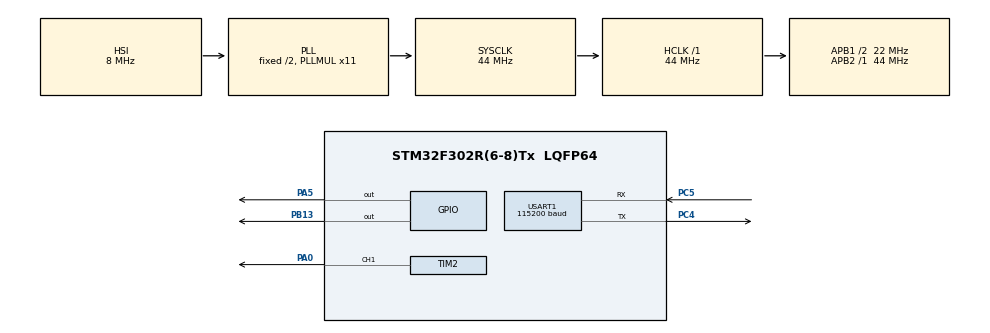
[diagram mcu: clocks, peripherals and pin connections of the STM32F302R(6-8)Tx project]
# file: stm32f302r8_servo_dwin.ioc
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Mcu.Family=STM32F3
Mcu.Name=STM32F302R(6-8)Tx
Mcu.Package=LQFP64
NVIC.PriorityGroup=NVIC_PRIORITYGROUP_0
NVIC.TIM2_IRQn=true\:0\:0\:false\:false\:true\:true\:true\:true
NVIC.USART1_IRQn=true\:0\:0\:false\:false\:true\:true\:true\:true
PA0.Signal=S_TIM2_CH1_ETR
PA13.Mode=Serial_Wire
PA13.Signal=SYS_JTMS-SWDIO
PA14.Mode=Serial_Wire
PA14.Signal=SYS_JTCK-SWCLK
PA5.Signal=GPIO_Output
PB13.Signal=GPIO_Output
PC4.Mode=Asynchronous
PC4.Signal=USART1_TX
PC5.Mode=Asynchronous
PC5.Signal=USART1_RX
PF0-OSC_IN.Mode=HSE-External-Oscillator
PF0-OSC_IN.Signal=RCC_OSC_IN
PF1-OSC_OUT.Mode=HSE-External-Oscillator
PF1-OSC_OUT.Signal=RCC_OSC_OUT
ProjectManager.HeapSize=0x200
ProjectManager.StackSize=0x400
ProjectManager.TargetToolchain=STM32CubeIDE
RCC.AHBFreq_Value=44000000
RCC.APB1CLKDivider=RCC_HCLK_DIV2
RCC.APB1Freq_Value=22000000
RCC.APB1TimFreq_Value=44000000
RCC.APB2Freq_Value=44000000
RCC.APB2TimFreq_Value=44000000
RCC.CortexFreq_Value=44000000
RCC.HCLKFreq_Value=44000000
RCC.HSE_VALUE=8000000
RCC.HSI_VALUE=8000000
RCC.LSE_VALUE=32768
RCC.PLLM=8
RCC.PLLMUL=RCC_PLL_MUL11
RCC.PLLN=336
RCC.PLLP=RCC_PLLP_DIV4
RCC.PLLQ=7
RCC.SYSCLKFreq_VALUE=44000000
RCC.SYSCLKSourceVirtual=RCC_SYSCLKSOURCE_PLLCLK
RCC.USBFreq_Value=44000000
RCC.Usart1ClockSelection=RCC_USART1CLKSOURCE_SYSCLK
SH.S_TIM2_CH1_ETR.0=TIM2_CH1,PWM Generation1 CH1
TIM2.Channel-PWM\ Generation1\ CH1=TIM_CHANNEL_1
TIM2.Period=1000-1
TIM2.Prescaler=880-1
USART1.BaudRate=115200
USART1.VirtualMode-Asynchronous=VM_ASYNC
VP_TIM2_VS_ClockSourceINT.Mode=Internal
board=NUCLEO-F302R8

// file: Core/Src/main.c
/* USER CODE BEGIN Header */
/**
  ******************************************************************************
  * @file           : main.c
  * @brief          : Main program body
  ******************************************************************************
  * @attention
  *
  * Copyright (c) 2024 STMicroelectronics.
  * All rights reserved.
  *
  * This software is licensed under terms that can be found in the LICENSE file
  * in the root directory of this software component.
  * If no LICENSE file comes with this software, it is provided AS-IS.
  *
  ******************************************************************************
  */
/* USER CODE END Header */
#include "main.h"

/* USER CODE BEGIN Includes */
#include<string.h>
#include<stdio.h>
/* USER CODE END Includes */

TIM_HandleTypeDef htim2;

UART_HandleTypeDef huart1;

void SystemClock_Config(void);
static void MX_GPIO_Init(void);
static void MX_TIM2_Init(void);
static void MX_USART1_UART_Init(void);

/* USER CODE BEGIN 0 */
uint8_t screen_change_command[]={0x5A, 0xA5, 0x07, 0x82, 0x00, 0x84, 0x5A, 0x01, 0x00, 0x00};
uint8_t ack_cmd[]=               {0x5a,0xa5,0x03,0x82,0x4f,0x4b};
uint8_t show_value[]=            {0x5a,0xa5,0x05,0x82,0x20,0x00,0x00,0x00};

/////////////////////////////////////////basic graphic command/////////////////////
uint8_t show_30[]=    {0x5a,0xa5,0x17,0x82,0x50,0x00,0x00,0x06,0x00,0x01,0x00,0x02,0x01,0x20,0x00,0x31,0x01,0x68,0x00,0x6a,0x01,0x20,0x00,0x31,0xff,0x00};
uint8_t hide_30[]=    {0x5a,0xa5,0x17,0x82,0x50,0x00,0x00,0x06,0x00,0x00,0x00,0x02,0x01,0x20,0x00,0x31,0x01,0x68,0x00,0x6a,0x01,0x20,0x00,0x31,0xff,0x00};
uint8_t show_60[]=    {0x5a,0xa5,0x17,0x82,0x50,0x10,0x00,0x06,0x00,0x01,0x00,0x02,0x01,0x81,0x00,0x31,0x01,0xc9,0x00,0x6a,0x01,0x81,0x00,0x31,0xff,0x00};
uint8_t hide_60[]=    {0x5a,0xa5,0x17,0x82,0x50,0x10,0x00,0x06,0x00,0x00,0x00,0x02,0x01,0x81,0x00,0x31,0x01,0xc9,0x00,0x6a,0x01,0x81,0x00,0x31,0xff,0x00};
uint8_t show_90[]=    {0x5a,0xa5,0x17,0x82,0x50,0x20,0x00,0x06,0x00,0x01,0x00,0x02,0x01,0x20,0x00,0x6d,0x01,0x68,0x00,0xa6,0x01,0x20,0x00,0x6d,0xff,0x00};
uint8_t hide_90[]=    {0x5a,0xa5,0x17,0x82,0x50,0x20,0x00,0x06,0x00,0x00,0x00,0x02,0x01,0x20,0x00,0x6d,0x01,0x68,0x00,0xa6,0x01,0x20,0x00,0x6d,0xff,0x00};
uint8_t show_120[]=   {0x5a,0xa5,0x17,0x82,0x50,0x30,0x00,0x06,0x00,0x01,0x00,0x02,0x01,0x7f,0x00,0x6d,0x01,0xc7,0x00,0xa6,0x01,0x7f,0x00,0x6d,0xff,0x00};
uint8_t hide_120[]=   {0x5a,0xa5,0x17,0x82,0x50,0x30,0x00,0x06,0x00,0x00,0x00,0x02,0x01,0x20,0x00,0xa9,0x01,0x68,0x00,0xe2,0x01,0x20,0x00,0xa9,0xff,0x00};
uint8_t show_150[]=   {0x5a,0xa5,0x17,0x82,0x50,0x40,0x00,0x06,0x00,0x01,0x00,0x02,0x01,0x20,0x00,0xa9,0x01,0x68,0x00,0xe2,0x01,0x20,0x00,0xa9,0xff,0x00};
uint8_t hide_150[]=   {0x5a,0xa5,0x17,0x82,0x50,0x40,0x00,0x06,0x00,0x00,0x00,0x02,0x01,0x20,0x00,0xa9,0x01,0x68,0x00,0xe2,0x01,0x20,0x00,0xa9,0xff,0x00};
uint8_t show_180[]=   {0x5a,0xa5,0x17,0x82,0x50,0x50,0x00,0x06,0x00,0x01,0x00,0x02,0x01,0x81,0x00,0xa9,0x03,0x46,0x00,0xe2,0x01,0x81,0x00,0xa9,0xff,0x00};
uint8_t hide_180[]=   {0x5a,0xa5,0x17,0x82,0x50,0x50,0x00,0x06,0x00,0x00,0x00,0x02,0x01,0x81,0x00,0xa9,0x03,0x46,0x00,0xe2,0x01,0x81,0x00,0xa9,0xff,0x00};
uint8_t show_0[]=     {0x5a,0xa5,0x17,0x82,0x50,0x60,0x00,0x06,0x00,0x01,0x00,0x02,0x01,0x4c,0x00,0xe5,0x01,0x9a,0x01,0x04,0x01,0x4c,0x00,0xe5,0xff,0x00};
uint8_t hide_0[]=     {0x5a,0xa5,0x17,0x82,0x50,0x60,0x00,0x06,0x00,0x00,0x00,0x02,0x01,0x4c,0x00,0xe5,0x01,0x9a,0x01,0x04,0x01,0x4c,0x00,0xe5,0xff,0x00};

uint8_t rxbuffer[10];
uint8_t flag=0;
uint8_t flag2=0;
uint8_t i=25;
uint8_t j=125;
uint8_t VALUE=0;
uint16_t length=0;
uint32_t startTime=0;
volatile uint16_t adc_val=0;
char adc_buffer[9];
uint8_t adc_f=0;
uint32_t timer=0;
uint8_t scale_adc_val=0;
uint32_t tim2=0;
uint8_t count=0;
uint16_t angle=0;
uint16_t number=0;
uint8_t new_value=0;

volatile uint8_t data_ready=0;
#define buffer_size 16

volatile uint8_t value=0;

uint32_t time1=0;
uint32_t time2=0;
uint8_t increasing=0;

void sendCommandToDwin(uint8_t *cmd,uint16_t length)
{
	HAL_UART_Transmit_IT(&huart1, cmd, length);
	HAL_Delay(5);

	__HAL_UART_ENABLE_IT(&huart1, UART_IT_RXNE);
//	HAL_Delay(20);
	HAL_UART_Receive_IT(&huart1, rxbuffer, 10);
//memset(rxbuffer,0x00,9);

}
void press_30()
{
	sendCommandToDwin(show_30,sizeof(show_30));
}

void release_30()
{
	sendCommandToDwin(hide_30,sizeof(hide_30));
}

void press_60()
{
	sendCommandToDwin(show_60,sizeof(show_60));
}
void press_90()
{
	sendCommandToDwin(show_90,sizeof(show_90));
}

void press_120()
{
	sendCommandToDwin(show_120,sizeof(show_120));
}
void press_150()
{
	sendCommandToDwin(show_150,sizeof(show_150));
}
void press_180()
{
	sendCommandToDwin(show_180,sizeof(show_180));
}
void press_0()
{
	sendCommandToDwin(show_0,sizeof(show_0));
}
void release_60()
{
	sendCommandToDwin(hide_60,sizeof(hide_60));
}

void release_90()
{
	sendCommandToDwin(hide_90,sizeof(hide_90));
}

void release_120()
{
	sendCommandToDwin(hide_120,sizeof(hide_120));
}
void release_150()
{
	sendCommandToDwin(hide_150,sizeof(hide_150));
}
void release_180()
{
	sendCommandToDwin(hide_180,sizeof(hide_180));
}
void release_0()
{
	sendCommandToDwin(hide_0,sizeof(hide_0));
}

void page_change(uint8_t page_no)
{

	screen_change_command[9]=page_no;

		sendCommandToDwin(screen_change_command,sizeof(screen_change_command));
}

void HAL_UART_TxCpltCallback(UART_HandleTypeDef *huart)
{
	if(huart->Instance ==USART1)
	{
	    __HAL_UART_DISABLE_IT(&huart1, UART_IT_RXNE);

	}
}

void servo_value(uint16_t value)
{

	show_value[7]=(uint8_t)value;
	if(HAL_GetTick()-tim2>50)
	{
	sendCommandToDwin(show_value,sizeof(show_value));
	tim2=HAL_GetTick();
	}
}
void button_func()
{
	switch(value)
	{
	case 25:
		press_0();
		release_30();
		release_60();
		release_90();
		release_120();
		release_150();
		release_180();
		HAL_Delay(10);
		servo_value(0);
		break;

	case 42:
		release_0();
		press_30();
		release_60();
		release_90();
		release_120();
		release_150();
		release_180();
		servo_value(30);
		HAL_Delay(10);
		break;
	case 58:
		release_0();
		release_30();
		press_60();
		release_90();
		release_120();
		release_150();
		release_180();
		servo_value(60);
		HAL_Delay(10);
		break;
	case 75:
		release_0();
		release_30();
		release_60();
		press_90();
		release_120();
		release_150();
		release_180();
		servo_value(90);
		break;
	case 91:
		release_0();
		release_30();
		release_60();
		release_90();
		press_120();
		release_150();
		release_180();
		servo_value(120);
		break;
	case 108:
		release_0();
		release_30();
		release_60();
		release_90();
		release_120();
		press_150();
		release_180();
		servo_value(150);
		break;
	case 125:
		release_0();
		release_30();
		release_60();
		release_90();
		release_120();
		release_150();
		press_180();
		servo_value(180);
		break;

	}
}

//void display_value(uint8_t arr[],uint16_t value)
//{
//	arr[7]=(uint8_t)value;
//	sendCommandToDwin(show_value,sizeof(show_value));
//}

void process_received_data(uint8_t *data)
{

			if(((rxbuffer[7]==0x10)&&(rxbuffer[8]==0x00))||((rxbuffer[8]==0x10)&&(rxbuffer[9]==0x00)))
			{

			}
			else if(((rxbuffer[7]==0x10)&&(rxbuffer[8]==0x01))||((rxbuffer[8]==0x10)&&(rxbuffer[9]==0x01)))
			{

value=25;
button_func();

			}
			else if(((rxbuffer[7]==0x10)&&(rxbuffer[8]==0x02))||((rxbuffer[8]==0x10)&&(rxbuffer[9]==0x02)))
			{
value=42;
button_func();

			}
				else if(((rxbuffer[7]==0x10)&&(rxbuffer[8]==0x03))||((rxbuffer[8]==0x10)&&(rxbuffer[9]==0x03)))
				{

value=58;
button_func();

				}
				else if(((rxbuffer[7]==0x10)&&(rxbuffer[8]==0x04))||((rxbuffer[8]==0x10)&&(rxbuffer[9]==0x04)))
				{
					value=75;

					button_func();

				}
				else if(((rxbuffer[7]==0x10)&&(rxbuffer[8]==0x05))||((rxbuffer[8]==0x10)&&(rxbuffer[9]==0x05)))
				{
					value=91;
					button_func();

				}
				else if(((rxbuffer[7]==0x10)&&(rxbuffer[8]==0x06))||((rxbuffer[8]==0x10)&&(rxbuffer[9]==0x06)))
				{
					value=108;
					button_func();

				}
				else if(((rxbuffer[7]==0x10)&&(rxbuffer[8]==0x07))||((rxbuffer[8]==0x10)&&(rxbuffer[9]==0x07)))
				{
					value=125;
					button_func();

				}

}

void HAL_UART_RxCpltCallback(UART_HandleTypeDef *huart)
{
 if(huart->Instance==USART1)
 {
			 data_ready=1;
			 HAL_UART_Receive_IT(&huart1, rxbuffer, 9);
 }
}

uint32_t MAP(uint32_t au32_IN, uint32_t au32_INmin, uint32_t au32_INmax, uint32_t au32_OUTmin, uint32_t au32_OUTmax)
{
    return ((((au32_IN - au32_INmin)*(au32_OUTmax - au32_OUTmin))/(au32_INmax - au32_INmin)) + au32_OUTmin);
}

void HAL_TIM_PWM_PulseFinishedCallback(TIM_HandleTypeDef *htim)
{

flag=1;
}

void increment_servo()
{
	if((rxbuffer[5]==0x20)&&(rxbuffer[6]==0x00))
	{
	  	  if(HAL_GetTick()-time1>10)
	  	  {
number=rxbuffer[9];
new_value=MAP(number,0,180,25,125);
	  	  TIM2->CCR1=new_value;

	  	  time1=HAL_GetTick();
	  	  }
	}
//	if((rxbuffer[4]==0x20)&&(rxbuffer[5]==0x00))
//	{
//	  	  if(HAL_GetTick()-time1>10)
//	  	  {
//
//	  		number=rxbuffer[8];
//	  		new_value=MAP(number,0,180,25,125);
//	  			  	  TIM2->CCR1=new_value;
//
//	  	  time1=HAL_GetTick();
//	  	  }
//	}
}
/* USER CODE END 0 */

int main(void)
{

  /* MCU Configuration--------------------------------------------------------*/

  /* Reset of all peripherals, Initializes the Flash interface and the Systick. */
  HAL_Init();

  /* Configure the system clock */
  SystemClock_Config();

  /* Initialize all configured peripherals */
  MX_GPIO_Init();
  MX_TIM2_Init();
  MX_USART1_UART_Init();
  /* USER CODE BEGIN 2 */
  HAL_TIM_PWM_Start_IT(&htim2, TIM_CHANNEL_1);
  HAL_UART_Receive_IT(&huart1, rxbuffer, 9);
  page_change(1);
  /* USER CODE END 2 */

  /* Infinite loop */
  /* USER CODE BEGIN WHILE */
  while (1)
  {
	  if(data_ready)
	  	  {
	  	  	HAL_Delay(10);

	  	  	 process_received_data(rxbuffer);
	  	  data_ready=0;
	  count++;

	  	  }

	  	  if(flag)
	  	  {
	  		  switch (value)
	  		  {
	  		  case 25:

	  				  		  	  if(HAL_GetTick()-time1>20)
	  				  		  	  {
	  				  		  		  if(increasing)
	  				  		  		  {
	  				  		  			  if(i<118)
	  				  		  			  {
	  				  		  				  i++;
	  							  		  	  TIM2->CCR1=i;
	  					  				  		  	  angle=MAP(i,25,125,0,180);
	  					  				  		  	  servo_value(angle);
	  				  		  			  }
	  				  		  			  else
	  				  		  			  {
	  				  		  				  increasing=0;
	  				  		  			  }
	  				  		  		  }
	  				  		  		  else
	  				  		  		  {
	  				  		  			  if(i>25)
	  				  		  			  {
	  				  		  				  i--;
	  							  		  	  TIM2->CCR1=i;
	  					  				  		  	  angle=MAP(i,25,125,0,180);
	  					  				  		  	  servo_value(angle);
	  				  		  			  }
	  				  		  			  else
	  				  		  			  {
	  				  		  				  increasing=1;
	  				  		  			  }
	  				  		  		  }

	  				  		  	  time1=HAL_GetTick();
	  				  		  	  }

	  		  	  break;
	  		  case 42:
	  		  	  if(HAL_GetTick()-time1>100)
	  		  	  {

	  		  	  TIM2->CCR1=42;

	  		  	  time1=HAL_GetTick();
	  		  	  }
	  		  	  break;
	  		  case 58:
	  		  	  if(HAL_GetTick()-time1>100)
	  		  	  {

	  		  	  TIM2->CCR1=58;

	  		  	  time1=HAL_GetTick();
	  		  	  }
	  		  	  break;

	  		  case 75:
	  		  	  if(HAL_GetTick()-time1>100)
	  		  	  {

	  		  	  TIM2->CCR1=75;

	  		  	  time1=HAL_GetTick();
	  		  	  }
	  		  	  break;

	  		  case 91:
	  		  	  if(HAL_GetTick()-time1>100)
	  		  	  {

	  		  	  TIM2->CCR1=91;

	  		  	  time1=HAL_GetTick();
	  		  	  }
	  		  	  break;
	  		  case 108:
	  		  	  if(HAL_GetTick()-time1>100)
	  		  	  {

	  		  	  TIM2->CCR1=108;

	  		  	  time1=HAL_GetTick();
	  		  	  }
	  		  	  break;
	  		  case 125:
	  		  	  if(HAL_GetTick()-time1>100)
	  		  	  {

	  		  	  TIM2->CCR1=124;

	  		  	  time1=HAL_GetTick();
	  		  	  }
	  		  	  break;

	  		  }

	  		  increment_servo();

	  	  flag=0;
	  	  }

	  	  if(HAL_GetTick()-tim2>500)
	  	  {
	  	  	HAL_GPIO_TogglePin(GPIOB, GPIO_PIN_13);
	  	  	tim2=HAL_GetTick();
	  	  }
    /* USER CODE END WHILE */

  }
}

void SystemClock_Config(void)
{
  RCC_OscInitTypeDef RCC_OscInitStruct = {0};
  RCC_ClkInitTypeDef RCC_ClkInitStruct = {0};
  RCC_PeriphCLKInitTypeDef PeriphClkInit = {0};

  /** Initializes the RCC Oscillators according to the specified parameters
  * in the RCC_OscInitTypeDef structure.
  */
  RCC_OscInitStruct.OscillatorType = RCC_OSCILLATORTYPE_HSI;
  RCC_OscInitStruct.HSIState = RCC_HSI_ON;
  RCC_OscInitStruct.HSICalibrationValue = RCC_HSICALIBRATION_DEFAULT;
  RCC_OscInitStruct.PLL.PLLState = RCC_PLL_ON;
  RCC_OscInitStruct.PLL.PLLSource = RCC_PLLSOURCE_HSI;
  RCC_OscInitStruct.PLL.PLLMUL = RCC_PLL_MUL11;
  if (HAL_RCC_OscConfig(&RCC_OscInitStruct) != HAL_OK)
  {
    Error_Handler();
  }

  /** Initializes the CPU, AHB and APB buses clocks
  */
  RCC_ClkInitStruct.ClockType = RCC_CLOCKTYPE_HCLK|RCC_CLOCKTYPE_SYSCLK
                              |RCC_CLOCKTYPE_PCLK1|RCC_CLOCKTYPE_PCLK2;
  RCC_ClkInitStruct.SYSCLKSource = RCC_SYSCLKSOURCE_PLLCLK;
  RCC_ClkInitStruct.AHBCLKDivider = RCC_SYSCLK_DIV1;
  RCC_ClkInitStruct.APB1CLKDivider = RCC_HCLK_DIV2;
  RCC_ClkInitStruct.APB2CLKDivider = RCC_HCLK_DIV1;

  if (HAL_RCC_ClockConfig(&RCC_ClkInitStruct, FLASH_LATENCY_1) != HAL_OK)
  {
    Error_Handler();
  }
  PeriphClkInit.PeriphClockSelection = RCC_PERIPHCLK_USART1;
  PeriphClkInit.Usart1ClockSelection = RCC_USART1CLKSOURCE_SYSCLK;
  if (HAL_RCCEx_PeriphCLKConfig(&PeriphClkInit) != HAL_OK)
  {
    Error_Handler();
  }
}

static void MX_TIM2_Init(void)
{

  TIM_ClockConfigTypeDef sClockSourceConfig = {0};
  TIM_MasterConfigTypeDef sMasterConfig = {0};
  TIM_OC_InitTypeDef sConfigOC = {0};

  htim2.Instance = TIM2;
  htim2.Init.Prescaler = 880-1;
  htim2.Init.CounterMode = TIM_COUNTERMODE_UP;
  htim2.Init.Period = 1000-1;
  htim2.Init.ClockDivision = TIM_CLOCKDIVISION_DIV1;
  htim2.Init.AutoReloadPreload = TIM_AUTORELOAD_PRELOAD_DISABLE;
  if (HAL_TIM_Base_Init(&htim2) != HAL_OK)
  {
    Error_Handler();
  }
  sClockSourceConfig.ClockSource = TIM_CLOCKSOURCE_INTERNAL;
  if (HAL_TIM_ConfigClockSource(&htim2, &sClockSourceConfig) != HAL_OK)
  {
    Error_Handler();
  }
  if (HAL_TIM_PWM_Init(&htim2) != HAL_OK)
  {
    Error_Handler();
  }
  sMasterConfig.MasterOutputTrigger = TIM_TRGO_RESET;
  sMasterConfig.MasterSlaveMode = TIM_MASTERSLAVEMODE_DISABLE;
  if (HAL_TIMEx_MasterConfigSynchronization(&htim2, &sMasterConfig) != HAL_OK)
  {
    Error_Handler();
  }
  sConfigOC.OCMode = TIM_OCMODE_PWM1;
  sConfigOC.Pulse = 0;
  sConfigOC.OCPolarity = TIM_OCPOLARITY_HIGH;
  sConfigOC.OCFastMode = TIM_OCFAST_DISABLE;
  if (HAL_TIM_PWM_ConfigChannel(&htim2, &sConfigOC, TIM_CHANNEL_1) != HAL_OK)
  {
    Error_Handler();
  }
  HAL_TIM_MspPostInit(&htim2);

}

static void MX_USART1_UART_Init(void)
{

  huart1.Instance = USART1;
  huart1.Init.BaudRate = 115200;
  huart1.Init.WordLength = UART_WORDLENGTH_8B;
  huart1.Init.StopBits = UART_STOPBITS_1;
  huart1.Init.Parity = UART_PARITY_NONE;
  huart1.Init.Mode = UART_MODE_TX_RX;
  huart1.Init.HwFlowCtl = UART_HWCONTROL_NONE;
  huart1.Init.OverSampling = UART_OVERSAMPLING_16;
  huart1.Init.OneBitSampling = UART_ONE_BIT_SAMPLE_DISABLE;
  huart1.AdvancedInit.AdvFeatureInit = UART_ADVFEATURE_NO_INIT;
  if (HAL_UART_Init(&huart1) != HAL_OK)
  {
    Error_Handler();
  }

}

static void MX_GPIO_Init(void)
{
  GPIO_InitTypeDef GPIO_InitStruct = {0};

  /* GPIO Ports Clock Enable */
  __HAL_RCC_GPIOF_CLK_ENABLE();
  __HAL_RCC_GPIOA_CLK_ENABLE();
  __HAL_RCC_GPIOC_CLK_ENABLE();
  __HAL_RCC_GPIOB_CLK_ENABLE();

  /*Configure GPIO pin Output Level */
  HAL_GPIO_WritePin(GPIOA, GPIO_PIN_5, GPIO_PIN_RESET);

  /*Configure GPIO pin Output Level */
  HAL_GPIO_WritePin(GPIOB, GPIO_PIN_13, GPIO_PIN_RESET);

  /*Configure GPIO pin : PA5 */
  GPIO_InitStruct.Pin = GPIO_PIN_5;
  GPIO_InitStruct.Mode = GPIO_MODE_OUTPUT_PP;
  GPIO_InitStruct.Pull = GPIO_NOPULL;
  GPIO_InitStruct.Speed = GPIO_SPEED_FREQ_LOW;
  HAL_GPIO_Init(GPIOA, &GPIO_InitStruct);

  /*Configure GPIO pin : PB13 */
  GPIO_InitStruct.Pin = GPIO_PIN_13;
  GPIO_InitStruct.Mode = GPIO_MODE_OUTPUT_PP;
  GPIO_InitStruct.Pull = GPIO_NOPULL;
  GPIO_InitStruct.Speed = GPIO_SPEED_FREQ_LOW;
  HAL_GPIO_Init(GPIOB, &GPIO_InitStruct);

}

void Error_Handler(void)
{
  __disable_irq();
  while (1)
  {
  }
}
